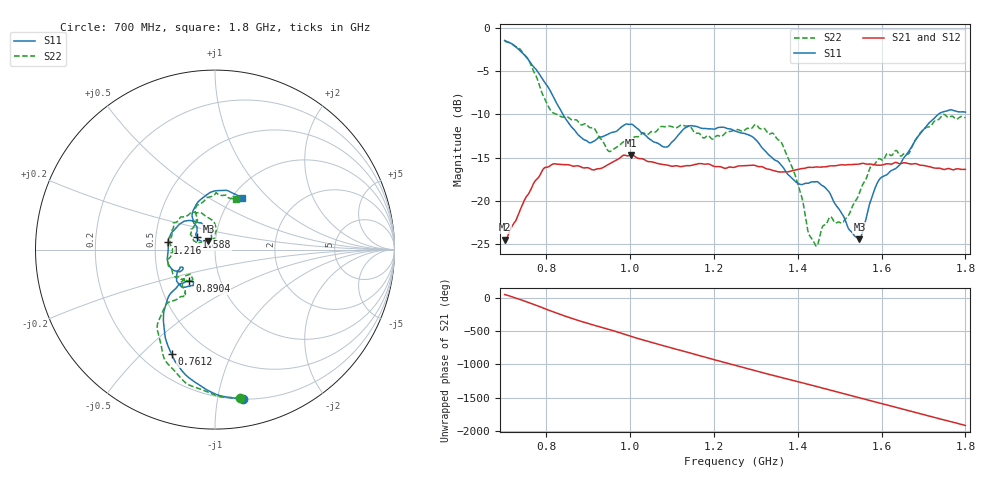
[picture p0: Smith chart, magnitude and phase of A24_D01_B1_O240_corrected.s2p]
! Created with skrf 1.9.0 (http://scikit-rf.org).
# Hz S RI R 50.0
!freq ReS11 ImS11 ReS21 ImS21 ReS12 ImS12 ReS22 ImS22
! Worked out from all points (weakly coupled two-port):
!   1601 points, 700 MHz to 1.8 GHz, reference 50 ohm
!   highest |S21| = -14.69 dB at 1.002 GHz (marker M1); lowest = -24.5 dB at 700 MHz (marker M2)
!   lowest |S11| = -24.4 dB at 1.547 GHz (marker M3), VSWR 1.13, Z = 46.3 + j4.42 ohm
!   |S11| at or under -10 dB: 839.5 MHz to 1.735 GHz (895.2 MHz wide, 69.6 % of centre)
!   |S22| runs from -25.2 to -1.5 dB; largest |S21 - S12| = 0.0037
!   S11 on the Smith chart (normalised r, x): 700 MHz: 0.20, -1.19; 761.2 MHz: 0.32, -0.62; 890.4 MHz: 0.71, -0.26; 1.216 GHz: 0.58, +0.05; 1.588 GHz: 0.81, +0.11; 1.8 GHz: 1.11, +0.72
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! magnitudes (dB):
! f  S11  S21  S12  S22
! 700 MHz  -1.4  -24.5  -24.3  -1.5
! 761.2 MHz  -4.0  -18.8  -18.7  -4.1
! 811.4 MHz  -7.5  -15.8  -15.8  -9.6
! 883.6 MHz  -12.7  -16.1  -16.0  -11.2
! 890.4 MHz  -12.9  -16.2  -16.2  -11.1
! 949.6 MHz  -12.2  -15.7  -15.7  -14.3
! 1.002 GHz  -11.1  -14.7  -14.8  -12.9
! 1.067 GHz  -13.4  -15.7  -15.6  -11.7
! 1.216 GHz  -11.5  -16.1  -16.1  -12.6
! 1.25 GHz  -11.9  -16.1  -16.0  -11.8
! 1.36 GHz  -15.8  -16.7  -16.7  -13.2
! 1.395 GHz  -17.8  -16.4  -16.4  -17.2
! 1.434 GHz  -17.8  -16.1  -16.1  -24.4
! 1.446 GHz  -17.8  -16.1  -16.1  -25.2
! 1.477 GHz  -19.1  -15.9  -16.0  -21.9
! 1.509 GHz  -21.8  -15.8  -15.8  -22.4
! 1.547 GHz  -24.4  -15.7  -15.7  -19.1
! 1.588 GHz  -18.1  -15.9  -15.8  -15.5
! 1.617 GHz  -16.8  -15.7  -15.7  -14.6
! 1.663 GHz  -14.4  -15.7  -15.7  -14.6
! 1.735 GHz  -10.0  -16.2  -16.3  -10.6
! 1.8 GHz  -9.7  -16.3  -16.3  -10.4
